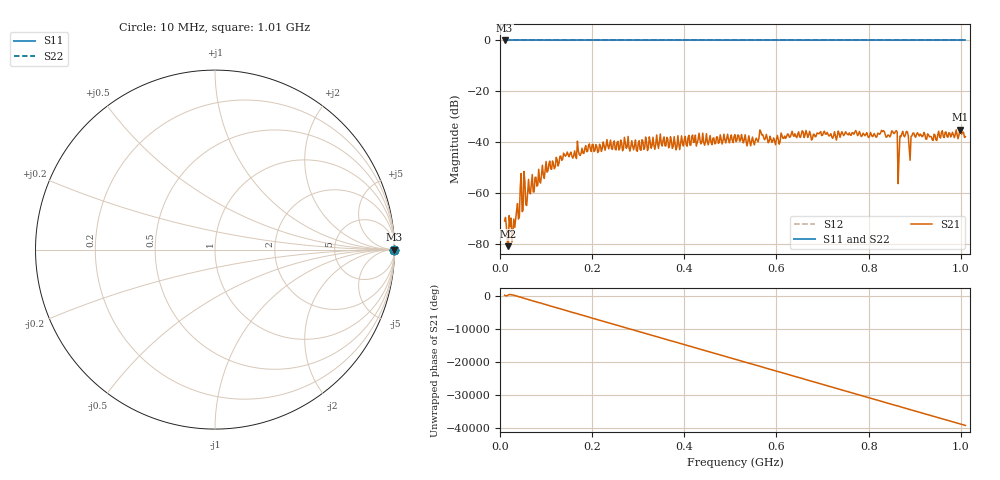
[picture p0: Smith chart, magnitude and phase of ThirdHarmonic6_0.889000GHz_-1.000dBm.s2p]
! 8/16/2025 5:14:14 AM
! C:\ANRITSUVNA\TEMP\TEMP.S2P
! CHANNEL.1
! TR.MEASUREMENT
! RAW.DATA
! RF.CORRECTION.OFF
! AVERAGING.OFF
! IF.BANDWIDTH: 5KHZ
! SWEEPTYPE:  FREQ.SWEEP(Linear)
! Reference Plane Port Info
! PORT:  PORT1  PORT2
! DISTANCE:  0  m  0  m
! TIME:  0  s  0  s
! PHASE.OFFSET:  0  deg.  0  deg.
! LOSS:  0  dB  0  dB
! REF.LOSS:  0  dB  0  dB
! REF.FREQ:  0  Hz  0  Hz
! Power Info
! POWER:  -20  dBm  -20  dBm
! EFF.POWER:  -20  dBm  -20  dBm
! SOURCE.ATTEN:  0  dB  0  dB
! TEST.ATTEN:  0  dB  0  dB
# GHZ S RI R 50.0
! FREQ.GHZ  S11RE  S11IM  S21RE  S21IM  S12RE  S12IM  S22RE  S22IM
!; PortSelection: Port_12
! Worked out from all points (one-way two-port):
!   501 points, 10 MHz to 1.01 GHz, reference 50 ohm
!   highest |S21| = -35.05 dB at 998 MHz (marker M1); lowest = -80.8 dB at 18 MHz (marker M2)
!   lowest |S11| = 0.0 dB at 10 MHz (marker M3)
!   |S11| at or under -10 dB: nowhere
!   |S22| runs from 0.0 to 0.0 dB; largest |S21 - S12| = 1
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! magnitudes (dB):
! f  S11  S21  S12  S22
! 10 MHz  0.0  -70.9  0.0  0.0
! 18 MHz  0.0  -80.8  0.0  0.0
! 30 MHz  0.0  -70.2  0.0  0.0
! 50 MHz  0.0  -66.8  0.0  0.0
! 60 MHz  0.0  -59.8  0.0  0.0
! 66 MHz  0.0  -60.2  0.0  0.0
! 104 MHz  0.0  -51.2  0.0  0.0
! 142 MHz  0.0  -45.5  0.0  0.0
! 178 MHz  0.0  -42.3  0.0  0.0
! 344 MHz  0.0  -42.4  0.0  0.0
! 510 MHz  0.0  -37.0  0.0  0.0
! 678 MHz  0.0  -38.6  0.0  0.0
! 844 MHz  0.0  -37.3  0.0  0.0
! 858 MHz  0.0  -35.8  0.0  0.0
! 862 MHz  0.0  -36.0  0.0  0.0
! 868 MHz  0.0  -37.6  0.0  0.0
! 872 MHz  0.0  -36.7  0.0  0.0
! 878 MHz  0.0  -37.9  0.0  0.0
! 890 MHz  0.0  -47.1  0.0  0.0
! 896 MHz  0.0  -36.4  0.0  0.0
! 998 MHz  0.0  -35.0  0.0  0.0
! 1.01 GHz  0.0  -37.8  0.0  0.0
